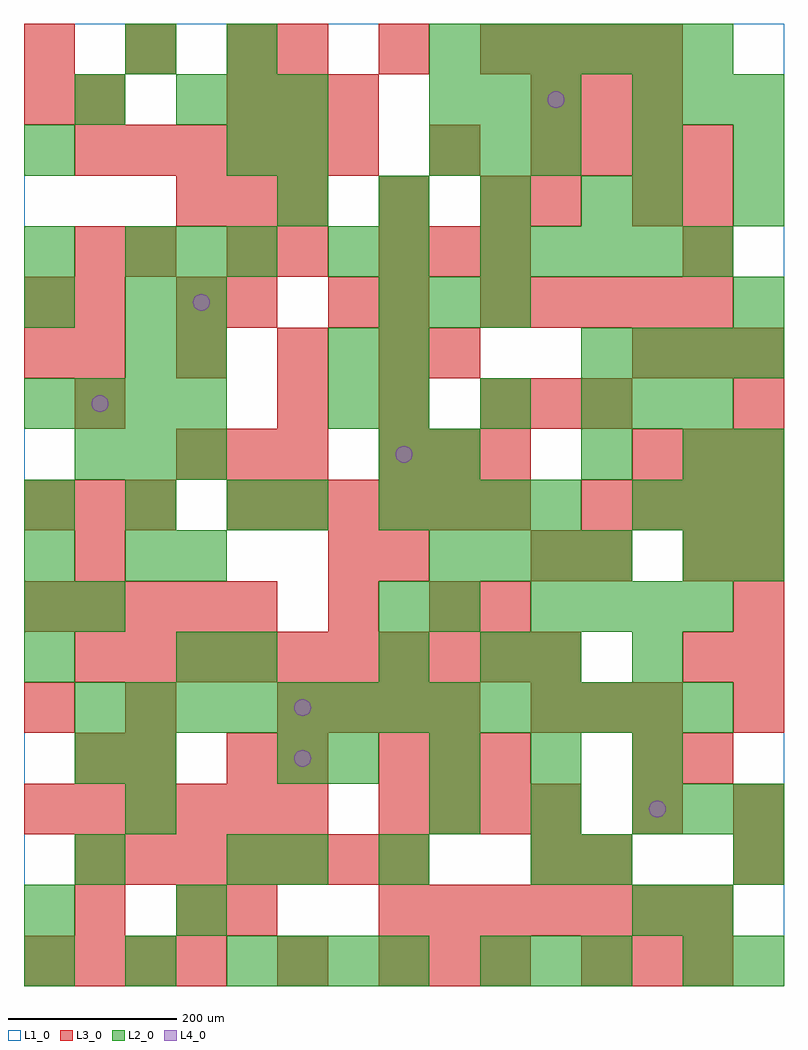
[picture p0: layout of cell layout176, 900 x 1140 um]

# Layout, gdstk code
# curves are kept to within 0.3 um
import gdstk
lib = gdstk.Library(unit=1e-6, precision=1e-09)
def R(c, l, rs):  # rectangles x0, y0, x1, y1
    for r in rs: c.add(gdstk.rectangle(r[:2], r[2:], *l))
def A(c, l, x, y, w, h, nx, ny, dx, dy):  # array of equal rectangles
    R(c, l, [(x+i*dx, y+j*dy, x+i*dx+w, y+j*dy+h) for i in range(nx) for j in range(ny)])
def P(c, l, *ps):  # polygons
    for p in ps: c.add(gdstk.Polygon(p, *l))
L1_0 = (1, 0)
L2_0 = (2, 0)
L3_0 = (3, 0)
L4_0 = (4, 0)

layout176 = lib.new_cell('layout176')
R(layout176, L1_0, [(0,0,900,1140)])
A(layout176, L2_0, 0, 0, 60, 60, 3, 2, 120, 540)
A(layout176, L2_0, 300, 0, 60, 60, 3, 1, 60, 0)
A(layout176, L2_0, 540, 0, 60, 60, 3, 1, 60, 0)
A(layout176, L2_0, 720, 60, 60, 60, 1, 3, 0, 300)
A(layout176, L2_0, 480, 180, 60, 60, 3, 1, 120, 0)
A(layout176, L2_0, 120, 240, 60, 60, 1, 3, 0, 240)
A(layout176, L2_0, 360, 240, 60, 60, 4, 1, 120, 0)
A(layout176, L2_0, 60, 300, 60, 60, 13, 1, 60, 0)
A(layout176, L2_0, 0, 360, 60, 60, 1, 3, 0, 60)
A(layout176, L2_0, 600, 420, 60, 60, 4, 1, 60, 0)
A(layout176, L2_0, 480, 480, 60, 60, 4, 1, 60, 0)
A(layout176, L2_0, 420, 540, 60, 60, 4, 1, 60, 0)
A(layout176, L2_0, 720, 540, 60, 60, 3, 2, 60, 480)
A(layout176, L2_0, 60, 600, 60, 60, 3, 1, 60, 0)
A(layout176, L2_0, 420, 600, 60, 60, 1, 3, 0, 120)
A(layout176, L2_0, 0, 660, 60, 60, 4, 1, 60, 0)
A(layout176, L2_0, 420, 660, 60, 60, 3, 1, 120, 0)
A(layout176, L2_0, 660, 720, 60, 60, 4, 1, 60, 0)
A(layout176, L2_0, 420, 780, 60, 60, 3, 1, 60, 0)
A(layout176, L2_0, 120, 840, 60, 60, 3, 1, 60, 0)
A(layout176, L2_0, 540, 840, 60, 60, 5, 1, 60, 0)
A(layout176, L2_0, 300, 900, 60, 60, 4, 1, 120, 0)
A(layout176, L2_0, 480, 960, 60, 60, 3, 2, 60, 60)
A(layout176, L2_0, 180, 1020, 60, 60, 3, 1, 60, 0)
A(layout176, L2_0, 480, 1080, 60, 60, 6, 1, 60, 0)
R(layout176, L2_0, [(780,0,840,60), (840,0,900,60), (0,60,60,120), (180,60,240,120), (780,60,840,120), (60,120,120,180), (240,120,300,180), (300,120,360,180), (420,120,480,180), (600,120,660,180), (660,120,720,180), (840,120,900,180), (120,180,180,240), (780,180,840,240), (840,180,900,240), (60,240,120,300), (300,240,360,300), (180,360,240,420), (240,360,300,420), (420,360,480,420), (540,360,600,420), (600,360,660,420), (60,420,120,480), (420,420,480,480), (480,420,540,480), (180,480,240,540), (780,480,840,540), (840,480,900,540), (300,540,360,600), (480,600,540,660), (660,600,720,660), (780,600,840,660), (840,600,900,660), (360,660,420,720), (780,660,840,720), (180,720,240,780), (360,720,420,780), (0,780,60,840), (120,780,180,840), (180,780,240,840), (840,780,900,840), (0,840,60,900), (360,840,420,900), (720,900,780,960), (840,900,900,960), (0,960,60,1020), (240,960,300,1020), (300,960,360,1020), (720,960,780,1020), (840,960,900,1020), (60,1020,120,1080), (120,1080,180,1140), (240,1080,300,1140)])
A(layout176, L3_0, 0, 0, 60, 60, 4, 1, 60, 0)
A(layout176, L3_0, 420, 0, 60, 60, 3, 2, 60, 240)
A(layout176, L3_0, 660, 0, 60, 60, 3, 1, 60, 0)
A(layout176, L3_0, 420, 60, 60, 60, 7, 1, 60, 0)
A(layout176, L3_0, 60, 120, 60, 60, 7, 1, 60, 0)
A(layout176, L3_0, 0, 180, 60, 60, 6, 1, 60, 0)
A(layout176, L3_0, 420, 180, 60, 60, 4, 1, 60, 0)
A(layout176, L3_0, 780, 240, 60, 60, 1, 3, 0, 120)
A(layout176, L3_0, 300, 300, 60, 60, 4, 1, 60, 0)
A(layout176, L3_0, 600, 300, 60, 60, 3, 2, 60, 720)
A(layout176, L3_0, 840, 300, 60, 60, 1, 4, 0, 60)
A(layout176, L3_0, 60, 360, 60, 60, 10, 1, 60, 0)
A(layout176, L3_0, 0, 420, 60, 60, 5, 1, 60, 0)
A(layout176, L3_0, 0, 540, 60, 60, 3, 1, 60, 0)
A(layout176, L3_0, 240, 540, 60, 60, 6, 1, 60, 0)
A(layout176, L3_0, 660, 540, 60, 60, 4, 1, 60, 0)
A(layout176, L3_0, 180, 600, 60, 60, 3, 2, 60, 300)
A(layout176, L3_0, 420, 600, 60, 60, 3, 2, 60, 240)
A(layout176, L3_0, 720, 600, 60, 60, 3, 2, 60, 120)
A(layout176, L3_0, 300, 660, 60, 60, 3, 2, 120, 420)
A(layout176, L3_0, 60, 720, 60, 60, 4, 1, 120, 0)
A(layout176, L3_0, 540, 780, 60, 60, 5, 1, 60, 0)
A(layout176, L3_0, 60, 960, 60, 60, 6, 1, 60, 0)
A(layout176, L3_0, 600, 960, 60, 60, 4, 1, 60, 0)
A(layout176, L3_0, 240, 1020, 60, 60, 3, 1, 60, 0)
A(layout176, L3_0, 0, 1080, 60, 60, 3, 1, 120, 0)
A(layout176, L3_0, 600, 1080, 60, 60, 3, 1, 60, 0)
R(layout176, L3_0, [(300,0,360,60), (60,60,120,120), (180,60,240,120), (240,60,300,120), (600,120,660,180), (660,120,720,180), (840,120,900,180), (720,180,780,240), (840,180,900,240), (60,240,120,300), (120,240,180,300), (240,240,300,300), (300,240,360,300), (720,240,780,300), (0,300,60,360), (120,300,180,360), (360,420,420,480), (480,420,540,480), (540,420,600,480), (60,480,120,540), (360,480,420,540), (420,480,480,540), (600,480,660,540), (660,480,720,540), (60,660,120,720), (600,660,660,720), (660,660,720,720), (840,660,900,720), (0,720,60,780), (480,720,540,780), (0,780,60,840), (60,780,120,840), (180,780,240,840), (240,780,300,840), (360,780,420,840), (420,780,480,840), (60,840,120,900), (120,840,180,900), (240,840,300,900), (300,840,360,900), (780,840,840,900), (420,900,480,960), (540,900,600,960), (600,900,660,960), (720,900,780,960), (780,900,840,960), (480,960,540,1020), (0,1020,60,1080), (60,1020,120,1080)])
P(layout176, L4_0, [(100,690),(99.239,693.827),(97.071,697.071),(93.827,699.239),(90,700),(86.173,699.239),(82.929,697.071),(80.761,693.827),(80,690),(80.761,686.173),(82.929,682.929),(86.173,680.761),(90,680),(93.827,680.761),(97.071,682.929),(99.239,686.173)],
  [(220,810),(219.239,813.827),(217.071,817.071),(213.827,819.239),(210,820),(206.173,819.239),(202.929,817.071),(200.761,813.827),(200,810),(200.761,806.173),(202.929,802.929),(206.173,800.761),(210,800),(213.827,800.761),(217.071,802.929),(219.239,806.173)],
  [(340,270),(339.239,273.827),(337.071,277.071),(333.827,279.239),(330,280),(326.173,279.239),(322.929,277.071),(320.761,273.827),(320,270),(320.761,266.173),(322.929,262.929),(326.173,260.761),(330,260),(333.827,260.761),(337.071,262.929),(339.239,266.173)],
  [(340,330),(339.239,333.827),(337.071,337.071),(333.827,339.239),(330,340),(326.173,339.239),(322.929,337.071),(320.761,333.827),(320,330),(320.761,326.173),(322.929,322.929),(326.173,320.761),(330,320),(333.827,320.761),(337.071,322.929),(339.239,326.173)],
  [(460,630),(459.239,633.827),(457.071,637.071),(453.827,639.239),(450,640),(446.173,639.239),(442.929,637.071),(440.761,633.827),(440,630),(440.761,626.173),(442.929,622.929),(446.173,620.761),(450,620),(453.827,620.761),(457.071,622.929),(459.239,626.173)],
  [(640,1050),(639.239,1053.827),(637.071,1057.071),(633.827,1059.239),(630,1060),(626.173,1059.239),(622.929,1057.071),(620.761,1053.827),(620,1050),(620.761,1046.173),(622.929,1042.929),(626.173,1040.761),(630,1040),(633.827,1040.761),(637.071,1042.929),(639.239,1046.173)],
  [(760,210),(759.239,213.827),(757.071,217.071),(753.827,219.239),(750,220),(746.173,219.239),(742.929,217.071),(740.761,213.827),(740,210),(740.761,206.173),(742.929,202.929),(746.173,200.761),(750,200),(753.827,200.761),(757.071,202.929),(759.239,206.173)])

lib.write_gds('layout176.gds')
